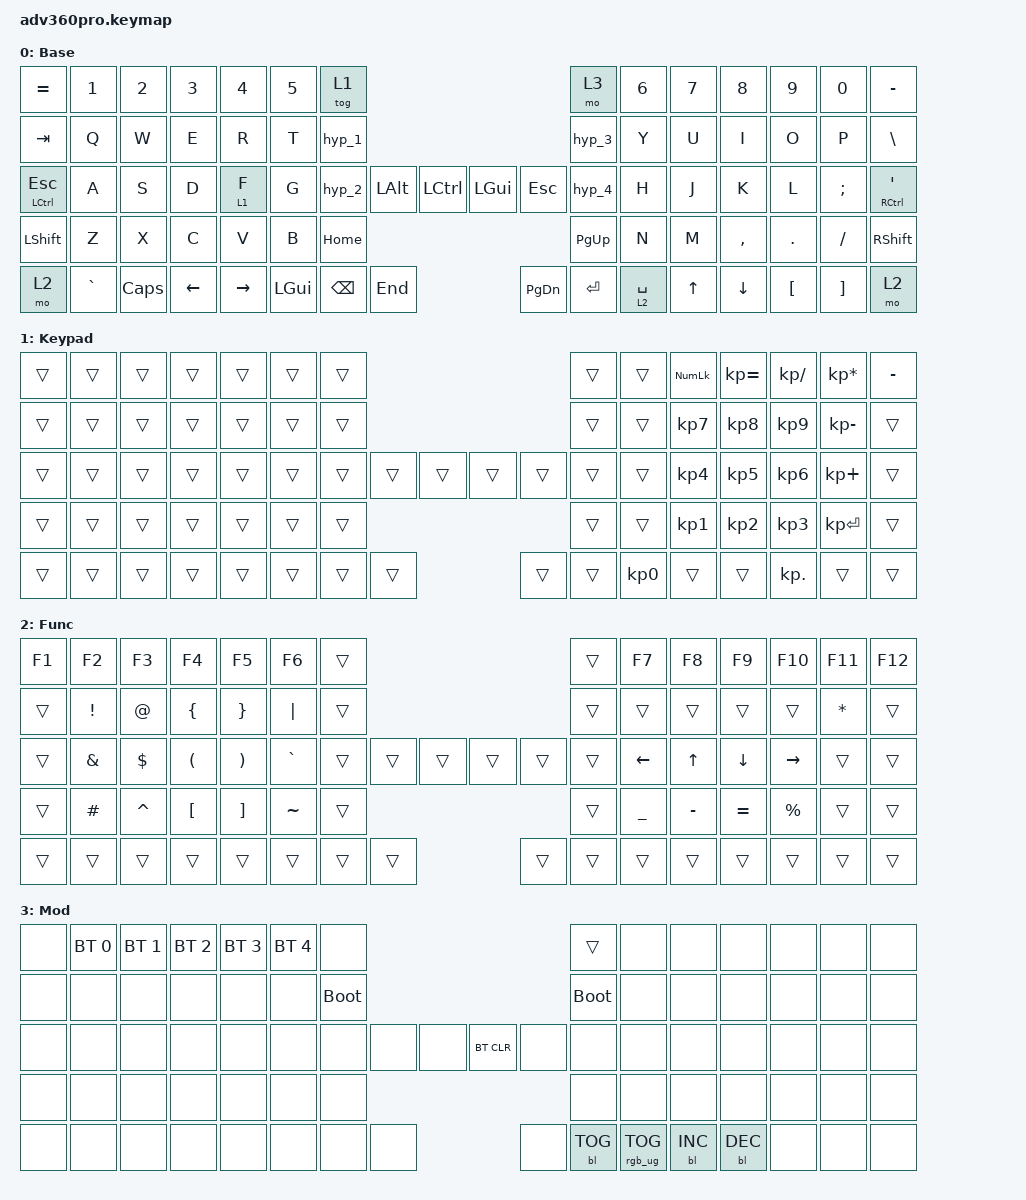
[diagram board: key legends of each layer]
#include <behaviors.dtsi>
#include <dt-bindings/zmk/keys.h>
#include <dt-bindings/zmk/bt.h>
#include <dt-bindings/zmk/rgb.h>
#include <dt-bindings/zmk/backlight.h>

/ {
    macros {
        #include "macros.dtsi"
    };
    keymap {
        compatible = "zmk,keymap";

        default_layer {
            display-name = "Base";
            bindings = <
                &kp EQUAL       &kp N1    &kp N2   &kp N3   &kp N4     &kp N5 &tog 1                                                                   &mo 3  &kp N6 &kp N7 &kp N8    &kp N9   &kp N0   &kp MINUS
                &kp TAB         &kp Q     &kp W    &kp E    &kp R      &kp T  &hyp_1                                                                   &hyp_3 &kp Y  &kp U  &kp I     &kp O    &kp P    &kp BSLH
                &mt LCTRL ESC   &kp A     &kp S    &kp D    &lt 1 F    &kp G  &hyp_2           &kp LALT      &kp LCTRL &kp LGUI  &kp ESC               &hyp_4 &kp H  &kp J  &kp K     &kp L    &kp SEMI &mt RCTRL SQT
                &kp LSHFT       &kp Z     &kp X    &kp C    &kp V      &kp B                                &kp HOME  &kp PG_UP                               &kp N  &kp M  &kp COMMA &kp DOT  &kp FSLH &kp RSHFT
                &mo 2           &kp GRAVE &kp CAPS &kp LEFT &kp RIGHT                &kp LGUI &kp BACKSPACE &kp END   &kp PG_DN &kp ENTER &lt 2 SPACE                &kp UP &kp DOWN  &kp LBKT &kp RBKT &mo 2
            >;
        };
        keypad {
            display-name = "Keypad";
            bindings = <
                &trans &trans &trans &trans &trans &trans  &trans                                          &trans  &trans &kp KP_NUM &kp KP_EQUAL &kp KP_DIVIDE &kp KP_MULTIPLY &kp MINUS
                &trans &trans &trans &trans &trans &trans  &trans                                          &trans  &trans &kp KP_N7  &kp KP_N8    &kp KP_N9     &kp KP_MINUS    &trans
                &trans &trans &trans &trans &trans &trans  &trans       &trans &trans &trans &trans        &trans  &trans &kp KP_N4  &kp KP_N5    &kp KP_N6     &kp KP_PLUS     &trans
                &trans &trans &trans &trans &trans &trans                      &trans &trans                       &trans &kp KP_N1  &kp KP_N2    &kp KP_N3     &kp KP_ENTER    &trans
                &trans &trans &trans &trans &trans               &trans &trans &trans &trans &trans &kp KP_N0             &trans     &trans       &kp KP_DOT    &trans          &trans
            >;
        };
        fn {
            display-name = "Func";
            bindings = <
                &kp F1 &kp F2    &kp F3      &kp F4    &kp F5    &kp F6    &trans                                           &trans  &kp F7         &kp F8       &kp F9         &kp F10         &kp F11   &kp F12
                &trans &kp EXCL  &kp AT      &kp LBRC  &kp RBRC  &kp PIPE  &trans                                           &trans  &trans         &trans       &trans         &trans          &kp ASTRK &trans
                &trans &kp AMPS  &kp DOLLAR  &kp LPAR  &kp RPAR  &kp GRAVE &trans        &trans &trans &trans &trans        &trans  &kp LEFT_ARROW &kp UP_ARROW &kp DOWN_ARROW &kp RIGHT_ARROW &trans    &trans
                &trans &kp HASH  &kp CARET   &kp LBKT  &kp RBKT  &kp TILDE                      &trans &trans                       &kp UNDER      &kp MINUS    &kp EQUAL      &kp PERCENT     &trans    &trans
                &trans &trans    &trans      &trans    &trans                     &trans &trans &trans &trans &trans &trans                        &trans       &trans         &trans          &trans    &trans
            >;
        };
        mod {
            display-name = "Mod";
            bindings = <
                &none &bt BT_SEL 0 &bt BT_SEL 1 &bt BT_SEL 2 &bt BT_SEL 3 &bt BT_SEL 4 &none                                                               &trans      &none &none      &none      &none &none &none
                &none &none        &none        &none        &none        &none        &bootloader                                                         &bootloader &none &none      &none      &none &none &none
                &none &none        &none        &none        &none        &none        &none             &none &none   &bt BT_CLR &none                    &none       &none &none      &none      &none &none &none
                &none &none        &none        &none        &none        &none                                &none   &none                                           &none &none      &none      &none &none &none
                &none &none        &none        &none        &none                                 &none &none &none   &none      &bl BL_TOG &rgb_ug RGB_TOG                 &bl BL_INC &bl BL_DEC &none &none &none
            >;
        };
    };
};
